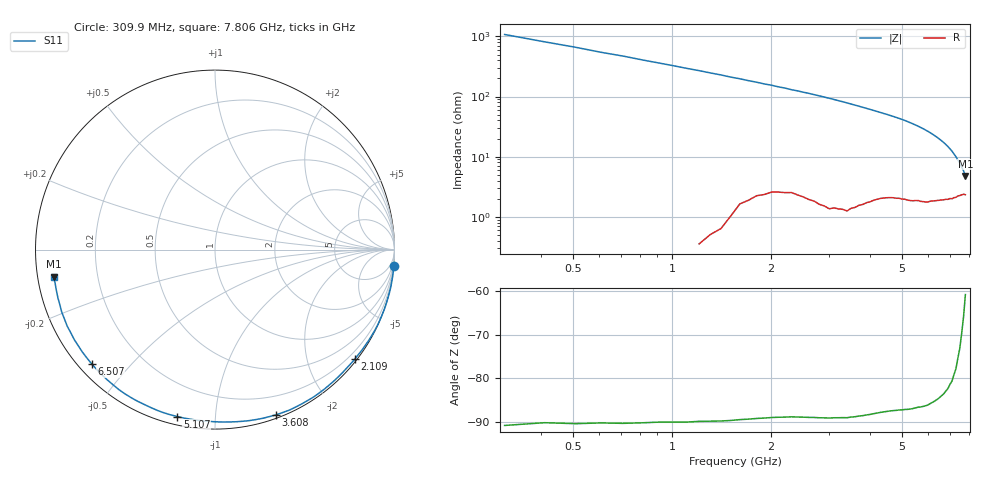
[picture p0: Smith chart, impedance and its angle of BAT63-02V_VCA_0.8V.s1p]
! Infineon Technologies  Discrete & RF Semiconductors
! BAT63-02V
! VCA = 0.8 V
! One-Port S-Parameters
# Hz  S  MA  R  50
!f  S11
!Hz  Mag  Ang
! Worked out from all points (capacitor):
!   76 points, 309.9 MHz to 7.806 GHz, reference 50 ohm
!   read as one part to ground: C = 477 fF near 309.9 MHz
!   lowest |Z| = 4.78 ohm at 7.806 GHz (marker M1)
!   S11 on the Smith chart (normalised r, x): 309.9 MHz: -0, -22; 2.109 GHz: 0.05, -2.90; 3.608 GHz: 0.03, -1.44; 5.107 GHz: 0.04, -0.80; 6.507 GHz: 0.04, -0.39; 7.806 GHz: 0.05, -0.08
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3.0985e8  1.001 -5.3
8.096e8  1.001 -14.0
1.30935e9  0.9992 -22.9
1.6092e9  0.9961 -28.4
1.90905e9  0.9919 -34.3
2.009e9  0.9903 -35.9
2.10895e9  0.9891 -38.1
2.2089e9  0.9884 -39.8
2.6087e9  0.9873 -47.8
2.8086e9  0.9877 -52.0
3.2084e9  0.9863 -60.6
3.4083e9  0.9856 -65.1
3.6082e9  0.9815 -69.7
3.8081e9  0.9769 -74.2
4.10795e9  0.9688 -80.9
4.50775e9  0.9596 -89.5
5.0075e9  0.9544 -100.5
5.10745e9  0.9533 -102.7
5.4073e9  0.9517 -109.8
5.6072e9  0.9486 -114.6
5.8071e9  0.948 -119.5
6.007e9  0.9461 -124.5
6.2069e9  0.9417 -129.6
6.50675e9  0.9367 -137.3
6.90655e9  0.9307 -147.4
7.10645e9  0.9273 -152.6
7.30635e9  0.922 -157.9
7.8061e9  0.9115 -170.4
